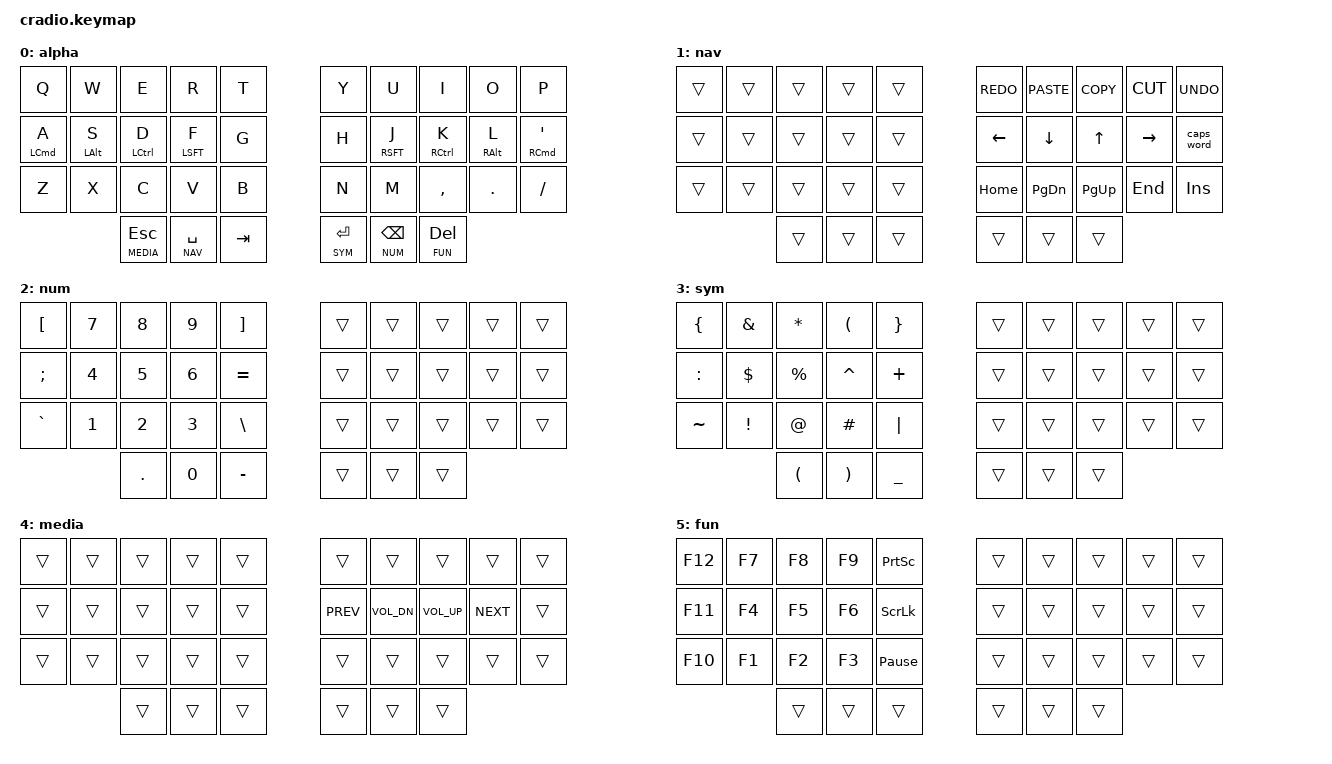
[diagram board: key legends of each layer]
// Copyright (c) 2022 The ZMK Contributors
// SPDX-License-Identifier: MIT

#include <behaviors.dtsi>
#include <dt-bindings/zmk/keys.h>

// Home row mods macro
#define HRML(k1,k2,k3,k4) &ht LSHFT k1  &ht LALT k2  &ht LCTRL k3  &ht LGUI k4
#define HRMR(k1,k2,k3,k4) &ht RGUI k1  &ht RCTRL k2  &ht RALT k3  &ht RSHFT k4

#define ALPHA 0
#define NAV 1
#define NUM 2
#define SYM 3
#define MEDIA 4
#define FUN 5

/ {
    behaviors {
        ht: hold_tap {
            compatible = "zmk,behavior-hold-tap";
            #binding-cells = <2>;
            flavor = "tap-preferred";
            tapping-term-ms = <180>;
            quick-tap-ms = <150>;
            bindings = <&kp>, <&kp>;
        };
    };

    conditional_layers {
        compatible = "zmk,conditional-layers";
        tri_layer {
            if-layers = <1 2>;
            then-layer = <3>;
        };
    };
    keymap {
        compatible = "zmk,keymap";
        alpha {
            display-name = "alpha";
        bindings = <
&kp Q      &kp W      &kp E         &kp R         &kp T   &kp Y       &kp U        &kp I       &kp O      &kp P
&mt LCMD A &mt LALT S &mt LCTRL D   &mt LSFT F    &kp G   &kp H       &mt RSFT J   &mt RCTRL K &mt RALT L &mt RCMD SQT
&kp Z      &kp X      &kp C         &kp V         &kp B   &kp N       &kp M        &kp COMMA   &kp DOT    &kp FSLH
                      &lt MEDIA ESC &lt NAV SPACE &kp TAB &lt SYM RET &lt NUM BSPC &lt FUN DEL
        >;
    };
    nav {
        display-name = "nav";
        bindings = <
&trans &trans &trans &trans &trans &kp K_REDO &kp K_PASTE &kp K_COPY &kp K_CUT &kp K_UNDO
&trans &trans &trans &trans &trans &kp LEFT   &kp DOWN    &kp UP     &kp RIGHT &caps_word
&trans &trans &trans &trans &trans &kp HOME   &kp PG_DN   &kp PG_UP  &kp END   &kp INS
              &trans &trans &trans &trans     &trans      &trans
        >;
    };
    num {
        display-name = "num";
        bindings = <
&kp LBKT  &kp N7 &kp N8  &kp N9 &kp RBKT  &trans &trans &trans &trans &trans
&kp SEMI  &kp N4 &kp N5  &kp N6 &kp EQUAL &trans &trans &trans &trans &trans
&kp GRAVE &kp N1 &kp N2  &kp N3 &kp BSLH  &trans &trans &trans &trans &trans
                 &kp DOT &kp N0 &kp MINUS &trans &trans &trans
        >;
    };
    sym {
        display-name = "sym";
        bindings = <
&kp LBRC  &kp AMPS &kp STAR  &kp LPAR  &kp RBRC  &trans &trans &trans &trans &trans
&kp COLON &kp DLLR &kp PRCNT &kp CARET &kp PLUS  &trans &trans &trans &trans &trans
&kp TILDE &kp EXCL &kp AT    &kp HASH  &kp PIPE  &trans &trans &trans &trans &trans
                   &kp LPAR  &kp RPAR  &kp UNDER &trans &trans &trans
        >;
    };
    media {
        display-name = "media";
         bindings = <
&trans &trans &trans &trans &trans &trans     &trans       &trans       &trans     &trans
&trans &trans &trans &trans &trans &kp C_PREV &kp C_VOL_DN &kp C_VOL_UP &kp C_NEXT &trans
&trans &trans &trans &trans &trans &trans     &trans       &trans       &trans     &trans
              &trans &trans &trans &trans &trans &trans
        >;
    };
    fun {
        display-name = "fun";
        bindings = <
&kp F12 &kp F7 &kp F8 &kp F9 &kp PSCRN       &trans &trans &trans &trans &trans
&kp F11 &kp F4 &kp F5 &kp F6 &kp SLCK        &trans &trans &trans &trans &trans
&kp F10 &kp F1 &kp F2 &kp F3 &kp PAUSE_BREAK &trans &trans &trans &trans &trans
               &trans &trans &trans          &trans &trans &trans
        >;
    };
  };
};
